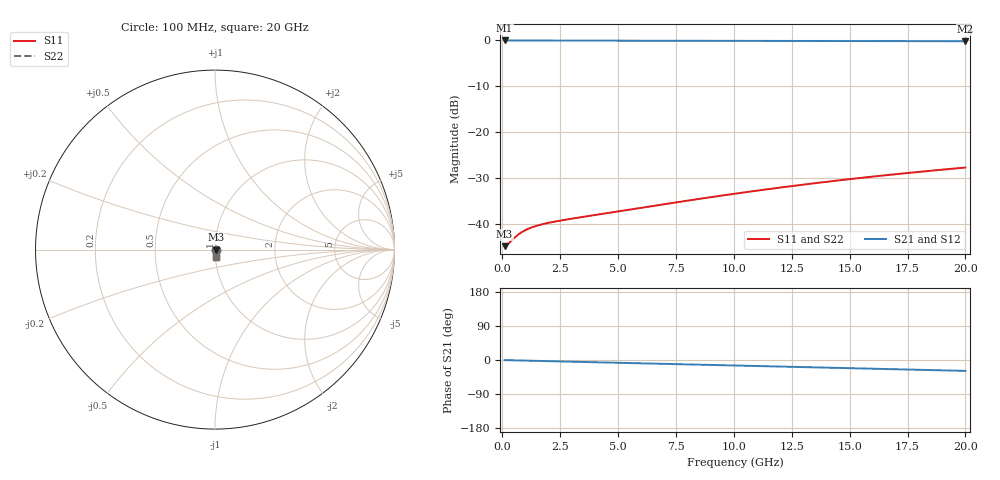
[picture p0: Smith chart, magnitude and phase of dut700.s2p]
! Touchstone file exported from HFSS 2026.1.0
!  File:  C:/ffzhzh/LocalFiles/Ansys_Project_Files/temp_train_TMRDL_700_1783154449_51560.aedt
!  Generated:  04:41:54 PM Jul  4, 2026
!  Design:  TMRDL
!  Project:  temp_train_TMRDL_700_1783154449_51560
! Variables:
!  h_bsmrdl = 2um
!  h_ox = 20um
!  h_rdl = 5um
!  h_sub = 80um
!  h_tmrdl = 2.19um
!  h_tsv = 80um
!  h_via = 3um
!  l_bsmrdl = 300um
!  l_sub = 908.2um
!  l_tmrdl = 508.2um
!  m_sub = 200um
!  pitch = 16.92um
!  r_tsv = 6um
!  s_tmrdl = 10um
!  w_bsmrdl = 18um
!  w_sub = 500um
!  w_tmrdl = 14.88um
!  x_tsv_center1 = 515.64um
!  x_tsv_center2 = 833.64um
!  x_tsv_center3 = 1356.72um
!  x_tsv_center4 = 1674.72um
!  x_tsv_center5 = 2197.8um
!  x_tsv_center6 = 2515.8um
# GHz S MA R 50.000000
! Terminal data exported
! Port[1] = TM_RDL1_1_T1
! Port[2] = TM_RDL1_1_T2
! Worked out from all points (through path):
!   200 points, 100 MHz to 20 GHz, reference 50 ohm
!   highest |S21| = -0.05 dB at 100 MHz (marker M1); lowest = -0.2 dB at 20 GHz (marker M2)
!   group delay of S21, straight-line fit = 3.97 ps
!   lowest |S11| = -44.8 dB at 100 MHz (marker M3), VSWR 1.01, Z = 50.6 + j0.0411 ohm
!   |S11| at or under -10 dB: start of sweep to end of sweep
!   |S22| runs from -44.8 to -27.6 dB; largest |S21 - S12| = 1.2e-14
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0.1  0.00574 4.1  0.9943 -0.2  0.9943 -0.2  0.00574 4.1
! Gamma 0 0 0 0
! Port Impedance 50 0 50 0
0.2  0.005947 7.5  0.9941 -0.4  0.9941 -0.4  0.005947 7.5
0.3  0.00625 10.0  0.9939 -0.5  0.9939 -0.5  0.00625 10.0
0.6  0.007355 11.9  0.9928 -1.0  0.9928 -1.0  0.007356 11.9
0.8  0.008027 10.3  0.9921 -1.3  0.9921 -1.3  0.008029 10.3
1  0.008586 7.9  0.9915 -1.6  0.9915 -1.6  0.00859 7.9
1.1  0.008826 6.6  0.9912 -1.8  0.9912 -1.8  0.00883 6.6
1.3  0.009243 3.9  0.9907 -2.1  0.9907 -2.1  0.009248 3.9
1.5  0.009595 1.2  0.9904 -2.3  0.9904 -2.3  0.009601 1.1
1.7  0.0099 -1.5  0.99 -2.6  0.99 -2.6  0.009907 -1.5
2.1  0.01042 -6.5  0.9895 -3.2  0.9895 -3.2  0.01043 -6.5
2.7  0.01111 -13.2  0.989 -4.1  0.989 -4.1  0.01112 -13.2
3.5  0.01198 -21.0  0.9884 -5.2  0.9884 -5.2  0.012 -21.0
6.8  0.01615 -44.1  0.9865 -9.9  0.9865 -9.9  0.01622 -43.9
8.5  0.01877 -52.4  0.9853 -12.4  0.9853 -12.4  0.01887 -52.1
10.1  0.02147 -58.8  0.9842 -14.7  0.9842 -14.7  0.02161 -58.4
11.8  0.02455 -64.6  0.9828 -17.1  0.9828 -17.1  0.02473 -64.1
13.4  0.02761 -69.5  0.9815 -19.4  0.9815 -19.4  0.02782 -68.9
15  0.03078 -73.9  0.9801 -21.6  0.9801 -21.6  0.03104 -73.2
16.7  0.03425 -78.3  0.9786 -24.1  0.9786 -24.1  0.03455 -77.5
18.3  0.03758 -82.1  0.9771 -26.3  0.9771 -26.3  0.03792 -81.3
20  0.04115 -86.0  0.9756 -28.7  0.9756 -28.7  0.04154 -85.1
